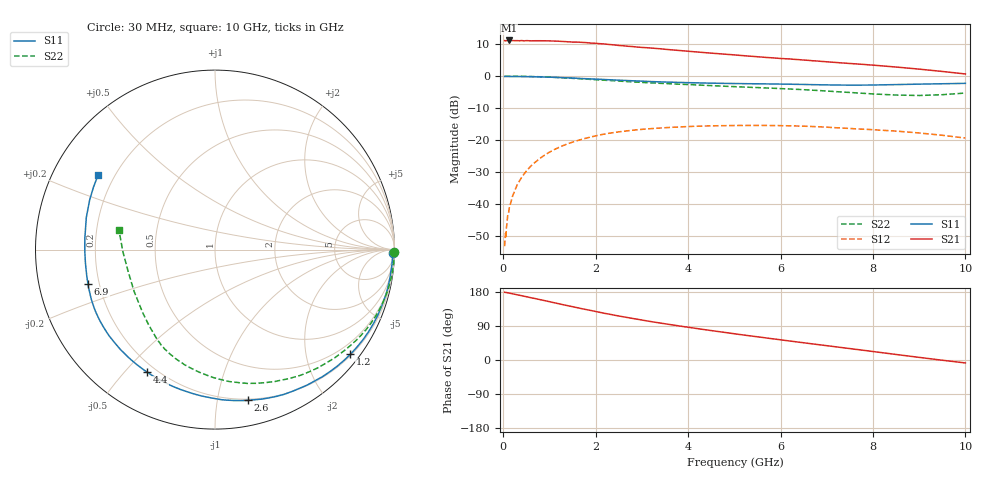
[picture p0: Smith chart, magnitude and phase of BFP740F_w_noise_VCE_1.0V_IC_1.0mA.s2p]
! Infineon Technologies  Discrete & RF Semiconductors
! BFP740F
! VCE =  1.0 V,  IC =  1.0 mA
! Common Emitter S-Parameters:  Oct 2012
# GHz  S  MA  R  50
!  f  S11  S21  S12  S22
! GHz  MAG  ANG  MAG  ANG  MAG  ANG  MAG  ANG
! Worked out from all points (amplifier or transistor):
!   99 points, 30 MHz to 10 GHz, reference 50 ohm
!   highest |S21| = 11.2 dB at 120 MHz (marker M1)
!   |S21| within 3 dB of that: start of sweep to 3.692 GHz
!   unconditionally stable (mu >= 1): nowhere
!   at 350 MHz: K = 0.00, MSG = 21.9 dB, |S12| = -32.8 dB
!   at 3.5 GHz: K = 0.20, MSG = 12.3 dB, |S12| = -16.1 dB
!   at 10 GHz: K = 0.92, MSG = 10.0 dB, |S12| = -19.4 dB
!   lowest NFmin = 0.44 dB at 450 MHz
!   S11 on the Smith chart (normalised r, x): 30 MHz: 51, -83; 1.2 GHz: 0.23, -2.91; 2.6 GHz: 0.19, -1.22; 4.4 GHz: 0.17, -0.58; 6.9 GHz: 0.16, -0.13; 10 GHz: 0.14, +0.29
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0.03  0.9893 -1.0  3.597 178.7  0.0022 94.5  0.999 -0.7
0.05  0.9892 -1.5  3.596 178.4  0.0035 93.5  1 -1.2
0.06  0.9893 -1.9  3.573 178.3  0.0031 95.2  0.9992 -1.3
0.07  0.9894 -2.2  3.597 178.0  0.0044 86.7  0.9995 -1.6
0.1  0.9895 -3.2  3.608 177.2  0.007 90.2  0.9995 -2.3
0.12  0.9893 -3.8  3.619 176.7  0.0075 89.6  0.9987 -2.8
0.2  0.9882 -6.3  3.6 174.7  0.0132 86.0  0.9982 -4.6
0.45  0.985 -14.1  3.567 168.3  0.0295 79.9  0.993 -10.4
0.8  0.9744 -25.1  3.581 159.2  0.0522 71.9  0.9786 -18.6
1.2  0.9536 -37.7  3.52 148.5  0.0767 62.0  0.9519 -28.1
1.7  0.9187 -52.8  3.38 135.4  0.1031 50.3  0.9077 -39.6
2.2  0.8862 -67.4  3.187 123.0  0.1248 39.1  0.8637 -51.3
2.6  0.8594 -77.8  2.989 114.0  0.1376 30.9  0.83 -59.7
3.4  0.8146 -97.3  2.681 97.4  0.1549 16.6  0.773 -74.5
4.4  0.7802 -119.0  2.322 79.4  0.1665 1.2  0.7168 -89.6
5.1  0.7667 -133.3  2.12 67.6  0.1697 -8.7  0.6813 -99.3
5.8  0.7557 -146.0  1.941 56.4  0.1691 -18.2  0.6491 -108.9
6.7  0.7371 -161.6  1.742 42.4  0.1631 -30.4  0.6033 -120.8
6.9  0.7329 -165.0  1.7 39.3  0.1607 -33.0  0.5922 -123.4
7.8  0.7258 179.0  1.528 25.5  0.1483 -43.2  0.539 -137.3
8.5  0.7389 166.0  1.39 14.6  0.1385 -51.1  0.5073 -152.7
10  0.7723 147.6  1.083 -7.8  0.1077 -67.5  0.5452 168.7
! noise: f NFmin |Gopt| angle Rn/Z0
0.45  0.44  0.65  10  0.5
0.9  0.53  0.66  18  0.46
1.5  0.68  0.66  29  0.43
1.9  0.79  0.62  40  0.44
2.4  0.93  0.59  48  0.44
3.5  1.24  0.54  72  0.41
5.5  1.77  0.47  117  0.31
10  2.79  0.61  -140  0.14
